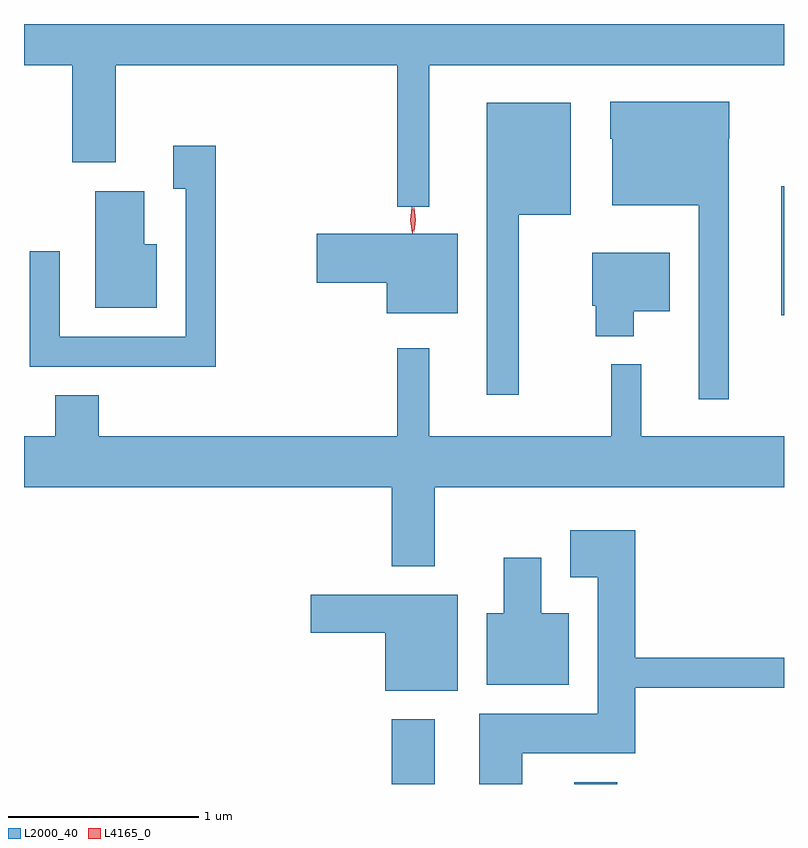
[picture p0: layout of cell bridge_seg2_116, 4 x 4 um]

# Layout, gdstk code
import gdstk
lib = gdstk.Library(unit=1e-6, precision=1e-09)
def R(c, l, rs):  # rectangles x0, y0, x1, y1
    for r in rs: c.add(gdstk.rectangle(r[:2], r[2:], *l))
def P(c, l, *ps):  # polygons
    for p in ps: c.add(gdstk.Polygon(p, *l))
L2000_40 = (2000, 40)
L4165_0 = (4165, 0)

bridge_seg2_116 = lib.new_cell('bridge_seg2_116')
R(bridge_seg2_116, L2000_40, [(884.281,1071.174,884.509,1071.514), (885.241,1071.174,885.469,1071.184), (886.331,1073.641,886.346,1074.319)])
P(bridge_seg2_116, L2000_40, [(884.479,1074.956),(886.346,1074.956),(886.346,1075.174),(882.346,1075.174),(882.346,1074.956),(882.601,1074.956),(882.601,1074.446),(882.829,1074.446),(882.829,1074.956),(884.311,1074.956),(884.311,1074.213),(884.479,1074.213)],
  [(886.054,1074.57),(886.059,1074.57),(886.059,1074.764),(885.431,1074.764),(885.431,1074.57),(885.441,1074.57),(885.441,1074.221),(885.896,1074.221),(885.896,1073.198),(886.054,1073.198)],
  [(884.949,1074.171),(885.224,1074.171),(885.224,1074.759),(884.781,1074.759),(884.781,1073.223),(884.949,1073.223)],
  [(883.354,1074.534),(883.131,1074.534),(883.131,1074.306),(883.196,1074.306),(883.196,1073.529),(882.534,1073.529),(882.534,1073.978),(882.376,1073.978),(882.376,1073.371),(883.354,1073.371)],
  [(883.044,1074.014),(882.979,1074.014),(882.979,1074.294),(882.721,1074.294),(882.721,1073.681),(883.044,1073.681)],
  [(884.629,1074.069),(883.886,1074.069),(883.886,1073.811),(884.256,1073.811),(884.256,1073.651),(884.629,1073.651)],
  [(885.554,1073.661),(885.744,1073.661),(885.744,1073.969),(885.336,1073.969),(885.336,1073.691),(885.356,1073.691),(885.356,1073.531),(885.554,1073.531)],
  [(884.509,1072.736),(886.346,1072.736),(886.346,1073.004),(885.594,1073.004),(885.594,1073.383),(885.436,1073.383),(885.436,1073.004),(884.479,1073.004),(884.479,1073.468),(884.311,1073.468),(884.311,1073.004),(882.739,1073.004),(882.739,1073.219),(882.511,1073.219),(882.511,1073.004),(882.346,1073.004),(882.346,1072.736),(884.281,1072.736),(884.281,1072.321),(884.509,1072.321)],
  [(884.969,1071.336),(885.564,1071.336),(885.564,1071.681),(886.346,1071.681),(886.346,1071.839),(885.564,1071.839),(885.564,1072.509),(885.221,1072.509),(885.221,1072.261),(885.366,1072.261),(885.366,1071.544),(884.741,1071.544),(884.741,1071.174),(884.969,1071.174)],
  [(885.214,1072.074),(885.069,1072.074),(885.069,1072.364),(884.871,1072.364),(884.871,1072.074),(884.781,1072.074),(884.781,1071.696),(885.214,1071.696)],
  [(884.629,1072.169),(883.856,1072.169),(883.856,1071.971),(884.246,1071.971),(884.246,1071.666),(884.629,1071.666)])
P(bridge_seg2_116, L4165_0, [(884.39,1074.074),(884.39,1074.074),(884.379,1074.142),(884.388,1074.21),(884.388,1074.21),(884.389,1074.21),(884.399,1074.142),(884.391,1074.074)],
  [(884.399,1074.08),(884.399,1074.08),(884.389,1074.144),(884.398,1074.206),(884.399,1074.207),(884.399,1074.206),(884.409,1074.144),(884.4,1074.08)])

lib.write_gds('bridge_seg2_116.gds')
